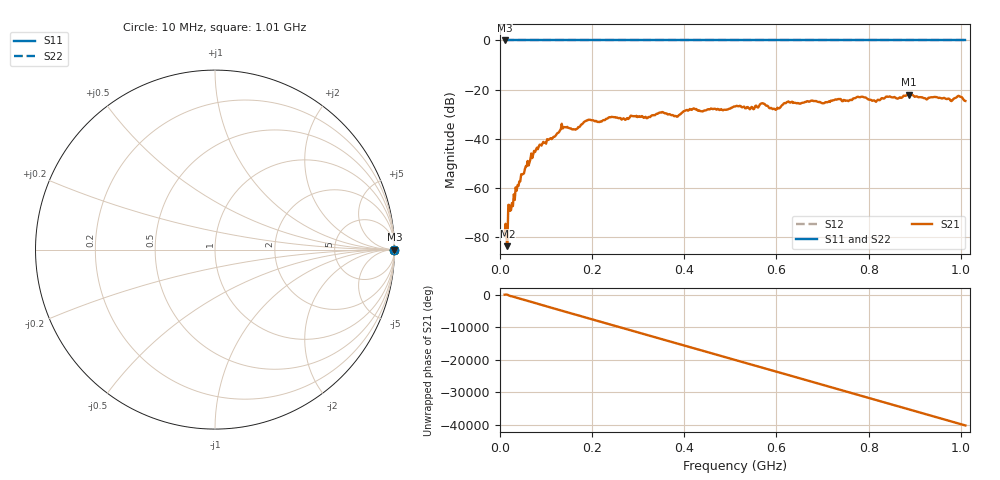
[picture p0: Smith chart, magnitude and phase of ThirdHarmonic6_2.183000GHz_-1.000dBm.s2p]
! 8/17/2025 2:02:17 AM
! C:\ANRITSUVNA\TEMP\TEMP.S2P
! CHANNEL.1
! TR.MEASUREMENT
! RAW.DATA
! RF.CORRECTION.OFF
! AVERAGING.OFF
! IF.BANDWIDTH: 5KHZ
! SWEEPTYPE:  FREQ.SWEEP(Linear)
! Reference Plane Port Info
! PORT:  PORT1  PORT2
! DISTANCE:  0  m  0  m
! TIME:  0  s  0  s
! PHASE.OFFSET:  0  deg.  0  deg.
! LOSS:  0  dB  0  dB
! REF.LOSS:  0  dB  0  dB
! REF.FREQ:  0  Hz  0  Hz
! Power Info
! POWER:  -20  dBm  -20  dBm
! EFF.POWER:  -20  dBm  -20  dBm
! SOURCE.ATTEN:  0  dB  0  dB
! TEST.ATTEN:  0  dB  0  dB
# GHZ S RI R 50.0
! FREQ.GHZ  S11RE  S11IM  S21RE  S21IM  S12RE  S12IM  S22RE  S22IM
!; PortSelection: Port_12
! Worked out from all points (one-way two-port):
!   501 points, 10 MHz to 1.01 GHz, reference 50 ohm
!   highest |S21| = -21.97 dB at 888 MHz (marker M1); lowest = -83.6 dB at 16 MHz (marker M2)
!   lowest |S11| = 0.0 dB at 10 MHz (marker M3)
!   |S11| at or under -10 dB: nowhere
!   |S22| runs from 0.0 to 0.0 dB; largest |S21 - S12| = 1.1
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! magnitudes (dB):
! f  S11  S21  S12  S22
! 10 MHz  0.0  -79.1  0.0  0.0
! 12 MHz  0.0  -74.5  0.0  0.0
! 16 MHz  0.0  -83.6  0.0  0.0
! 22 MHz  0.0  -69.3  0.0  0.0
! 28 MHz  0.0  -67.3  0.0  0.0
! 38 MHz  0.0  -58.9  0.0  0.0
! 76 MHz  0.0  -45.4  0.0  0.0
! 136 MHz  0.0  -35.8  0.0  0.0
! 162 MHz  0.0  -36.1  0.0  0.0
! 178 MHz  0.0  -34.0  0.0  0.0
! 344 MHz  0.0  -29.6  0.0  0.0
! 382 MHz  0.0  -30.7  0.0  0.0
! 416 MHz  0.0  -28.2  0.0  0.0
! 510 MHz  0.0  -26.9  0.0  0.0
! 546 MHz  0.0  -27.0  0.0  0.0
! 570 MHz  0.0  -25.5  0.0  0.0
! 596 MHz  0.0  -27.8  0.0  0.0
! 622 MHz  0.0  -25.2  0.0  0.0
! 678 MHz  0.0  -24.4  0.0  0.0
! 844 MHz  0.0  -22.9  0.0  0.0
! 888 MHz  0.0  -22.0  0.0  0.0
! 1.01 GHz  0.0  -24.6  0.0  0.0
